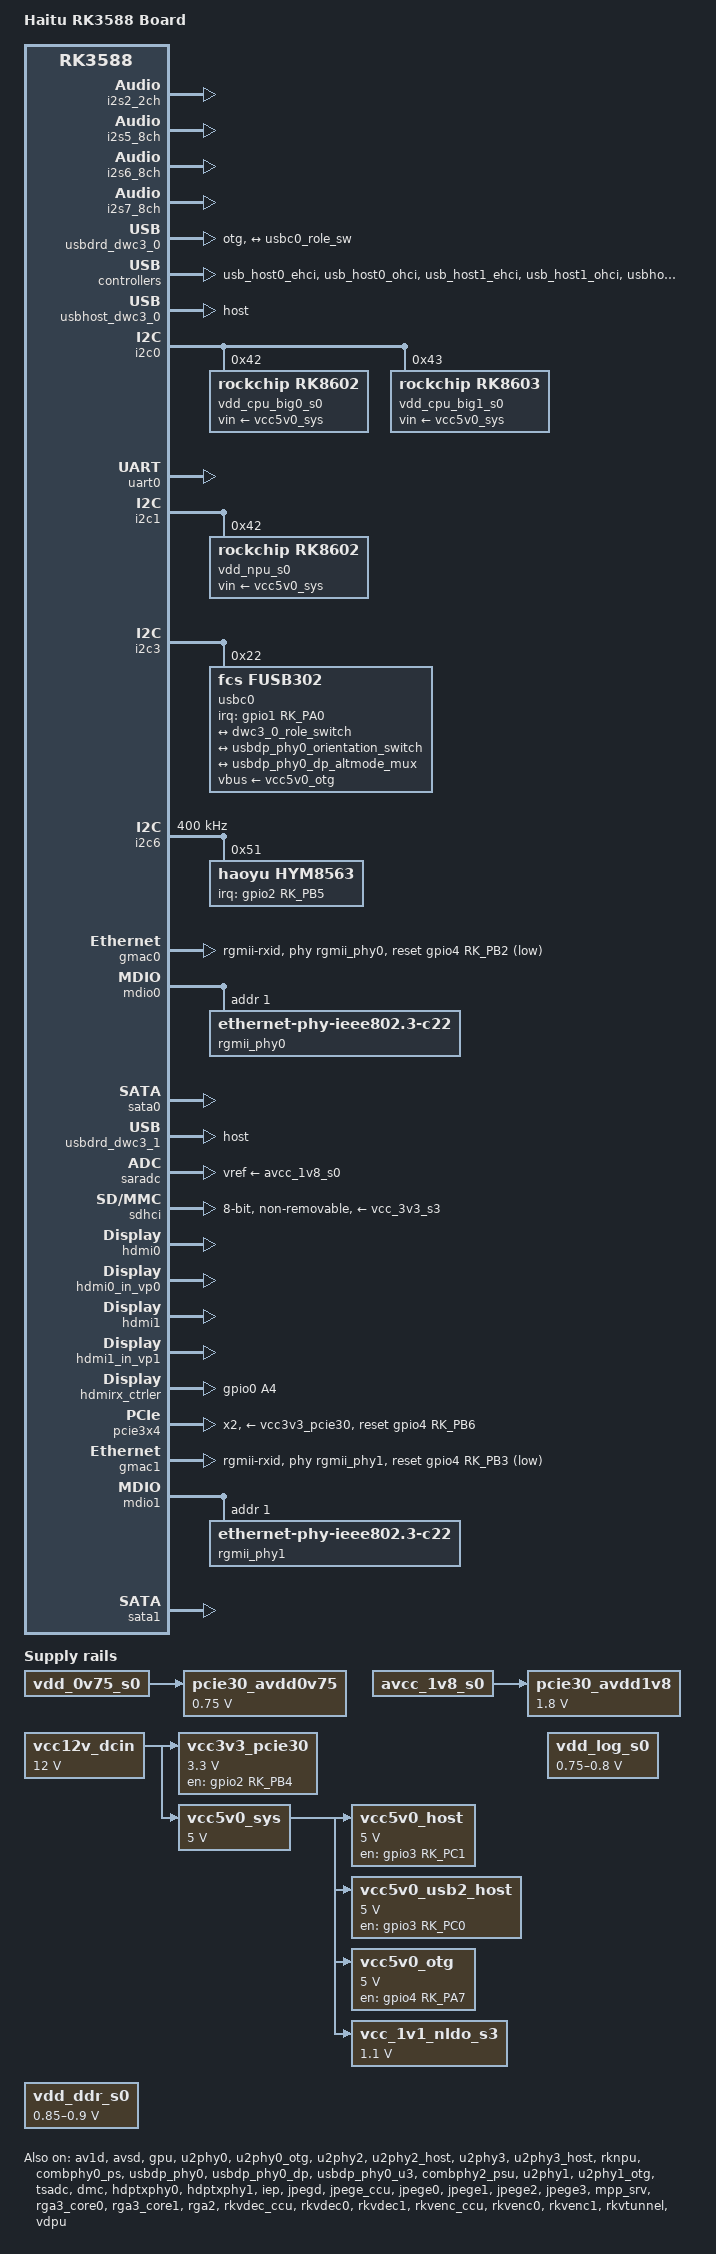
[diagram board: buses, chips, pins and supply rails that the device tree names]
// SPDX-License-Identifier: (GPL-2.0+ OR MIT)
/*
 * Copyright (c) 2026 Rockchip Electronics Co., Ltd.
 * bingo1991
 */

/dts-v1/;

#include <dt-bindings/gpio/gpio.h>
#include <dt-bindings/pwm/pwm.h>
#include <dt-bindings/pinctrl/rockchip.h>
#include <dt-bindings/input/rk-input.h>
#include <dt-bindings/display/drm_mipi_dsi.h>
#include <dt-bindings/display/rockchip_vop.h>
#include <dt-bindings/sensor-dev.h>
#include <dt-bindings/usb/pd.h>
#include "rk3588.dtsi"
#include "rk3588-rk806-single.dtsi"
#include "rk3588-linux.dtsi"

/ {
	model = "Haitu RK3588 Board";
	compatible = "haitu,ht-rk3588", "rockchip,rk3588";

	aliases {
		ethernet0 = &gmac0;
		ethernet1 = &gmac1;
		mmc0 = &sdhci;
	};

	reserved-memory {
		#address-cells = <2>;
		#size-cells = <2>;
		ranges;

		/* Reserve 256MB memory for hdmirx-controller@fdee0000 */
		cma {
			compatible = "shared-dma-pool";
			reusable;
			reg = <0x0 (256 * 0x100000) 0x0 (256 * 0x100000)>;
			linux,cma-default;
		};
	};

	dp0_sound: dp0-sound {
		compatible = "rockchip,hdmi";
		rockchip,card-name = "rockchip-dp0";
		rockchip,mclk-fs = <512>;
		rockchip,cpu = <&spdif_tx2>;
		rockchip,codec = <&dp0 1>;
		rockchip,jack-det;
	};

	hdmi0_sound: hdmi0-sound {
		compatible = "simple-audio-card";
		simple-audio-card,format = "i2s";
		simple-audio-card,mclk-fs = <128>;
		simple-audio-card,name = "rockchip,hdmi0";

		simple-audio-card,cpu {
			sound-dai = <&i2s5_8ch>;
		};
		simple-audio-card,codec {
			sound-dai = <&hdmi0>;
		};
	};

	hdmi1_sound: hdmi1-sound {
		compatible = "simple-audio-card";
		simple-audio-card,format = "i2s";
		simple-audio-card,mclk-fs = <128>;
		simple-audio-card,name = "rockchip,hdmi1";

		simple-audio-card,cpu {
			sound-dai = <&i2s6_8ch>;
		};
		simple-audio-card,codec {
			sound-dai = <&hdmi1>;
		};
	};

	hdmiin_sound: hdmiin-sound {
		compatible = "rockchip,hdmi";
		rockchip,mclk-fs = <128>;
		rockchip,format = "i2s";
		rockchip,bitclock-master = <&hdmirx_ctrler>;
		rockchip,frame-master = <&hdmirx_ctrler>;
		rockchip,card-name = "rockchip-hdmiin";
		rockchip,cpu = <&i2s7_8ch>;
		rockchip,codec = <&hdmirx_ctrler 0>;
		rockchip,jack-det;
	};

	test-power {
		status = "okay";
	};

	pcie30_avdd0v75: pcie30-avdd0v75 {
		compatible = "regulator-fixed";
		regulator-name = "pcie30_avdd0v75";
		regulator-boot-on;
		regulator-always-on;
		regulator-min-microvolt = <750000>;
		regulator-max-microvolt = <750000>;
		vin-supply = <&vdd_0v75_s0>;
	};

	pcie30_avdd1v8: pcie30-avdd1v8 {
		compatible = "regulator-fixed";
		regulator-name = "pcie30_avdd1v8";
		regulator-boot-on;
		regulator-always-on;
		regulator-min-microvolt = <1800000>;
		regulator-max-microvolt = <1800000>;
		vin-supply = <&avcc_1v8_s0>;
	};

	vcc12v_dcin: vcc12v-dcin {
		compatible = "regulator-fixed";
		regulator-name = "vcc12v_dcin";
		regulator-always-on;
		regulator-boot-on;
		regulator-min-microvolt = <12000000>;
		regulator-max-microvolt = <12000000>;
	};

	vcc3v3_pcie30: vcc3v3-pcie30 {
		compatible = "regulator-fixed";
		regulator-name = "vcc3v3_pcie30";
		regulator-min-microvolt = <3300000>;
		regulator-max-microvolt = <3300000>;
		enable-active-high;
		gpios = <&gpio2 RK_PB4 GPIO_ACTIVE_HIGH>;
		startup-delay-us = <7500>;
		vin-supply = <&vcc12v_dcin>;
	};

	vcc5v0_sys: vcc5v0-sys {
		compatible = "regulator-fixed";
		regulator-name = "vcc5v0_sys";
		regulator-always-on;
		regulator-boot-on;
		regulator-min-microvolt = <5000000>;
		regulator-max-microvolt = <5000000>;
		vin-supply = <&vcc12v_dcin>;
	};

	vcc5v0_host: vcc5v0-host-regulator {
		compatible = "regulator-fixed";
		regulator-name = "vcc5v0_host";
		regulator-boot-on;
		regulator-always-on;
		regulator-min-microvolt = <5000000>;
		regulator-max-microvolt = <5000000>;
		enable-active-high;
		gpio = <&gpio3 RK_PC1 GPIO_ACTIVE_HIGH>;
		vin-supply = <&vcc5v0_sys>;
		pinctrl-names = "default";
		pinctrl-0 = <&vcc5v0_host_en>;
	};

	vcc5v0_usb2_host: vcc5v0-usb2-host-regulator {
		compatible = "regulator-fixed";
		regulator-name = "vcc5v0_usb2_host";
		regulator-boot-on;
		regulator-always-on;
		regulator-min-microvolt = <5000000>;
		regulator-max-microvolt = <5000000>;
		enable-active-high;
		gpio = <&gpio3 RK_PC0 GPIO_ACTIVE_HIGH>;
		vin-supply = <&vcc5v0_sys>;
		pinctrl-names = "default";
		pinctrl-0 = <&vcc5v0_usb2_host_en>;
	};

	vcc5v0_otg: vcc5v0-otg-regulator {
		compatible = "regulator-fixed";
		regulator-name = "vcc5v0_otg";
		regulator-min-microvolt = <5000000>;
		regulator-max-microvolt = <5000000>;
		enable-active-high;
		gpio = <&gpio4 RK_PA7 GPIO_ACTIVE_HIGH>;
		vin-supply = <&vcc5v0_sys>;
		pinctrl-names = "default";
		pinctrl-0 = <&vcc5v0_otg_en>;
	};

	vcc_1v1_nldo_s3: vcc-1v1-nldo-s3 {
		compatible = "regulator-fixed";
		regulator-name = "vcc_1v1_nldo_s3";
		regulator-always-on;
		regulator-boot-on;
		regulator-min-microvolt = <1100000>;
		regulator-max-microvolt = <1100000>;
		vin-supply = <&vcc5v0_sys>;
	};
};

&av1d {
	status = "okay";
};

&av1d_mmu {
	status = "okay";
};

&avsd {
	status = "okay";
};

&i2s2_2ch {
	status = "okay";
};

&i2s5_8ch {
	status = "okay";
};

&i2s6_8ch {
	status = "okay";
};

&i2s7_8ch {
	status = "okay";
};

&cpu_l0 {
	cpu-supply = <&vdd_cpu_lit_s0>;
	mem-supply = <&vdd_cpu_lit_mem_s0>;
};

&cpu_b0 {
	cpu-supply = <&vdd_cpu_big0_s0>;
	mem-supply = <&vdd_cpu_big0_mem_s0>;
};

&cpu_b2 {
	cpu-supply = <&vdd_cpu_big1_s0>;
	mem-supply = <&vdd_cpu_big1_mem_s0>;
};

&gpu {
	mali-supply = <&vdd_gpu_s0>;
	mem-supply = <&vdd_gpu_mem_s0>;
	status = "okay";
};

&rockchip_suspend {
	status = "okay";
	rockchip,sleep-debug-en = <1>;
};

&usbdrd_dwc3_0 {
	dr_mode = "otg";
	usb-role-switch;
	status = "okay";
	port {
		#address-cells = <1>;
		#size-cells = <0>;
		dwc3_0_role_switch: endpoint@0 {
			reg = <0>;
			remote-endpoint = <&usbc0_role_sw>;
		};
	};
};

/* USB2.0 HOST0 Controller */
&usb_host0_ehci {
	status = "okay";
};

&usb_host0_ohci {
	status = "okay";
};

/* USB2.0 HOST1 Controller */
&usb_host1_ehci {
	status = "okay";
};

&usb_host1_ohci {
	status = "okay";
};

/* USB3.1 HOST2 Controller  */
&usbhost3_0 {
	status = "okay";
};

&usbhost_dwc3_0 {
	dr_mode = "host";
	status = "okay";
};

/* USB2.0 PHY0 */
&u2phy0 {
	status = "okay";
};

&u2phy0_otg {
	vbus-supply = <&vcc5v0_otg>;
	rockchip,typec-vbus-det;
	status = "okay";
};

/* USB2.0 HOST0 PHY2 */
&u2phy2 {
	status = "okay";
};

&u2phy2_host {
	phy-supply = <&vcc5v0_host>;
	status = "okay";
};

/* USB2.0 HOST1 PHY3 */
&u2phy3 {
	status = "okay";
};

&u2phy3_host {
	phy-supply = <&vcc5v0_host>;
	status = "okay";
};

&i2c0 {
	pinctrl-names = "default";
	pinctrl-0 = <&i2c0m2_xfer>;
	status = "okay";

	vdd_cpu_big0_s0: vdd_cpu_big0_mem_s0: rk8602@42 {
		compatible = "rockchip,rk8602";
		reg = <0x42>;
		vin-supply = <&vcc5v0_sys>;
		regulator-compatible = "rk860x-reg";
		regulator-name = "vdd_cpu_big0_s0";
		regulator-min-microvolt = <550000>;
		regulator-max-microvolt = <1050000>;
		regulator-ramp-delay = <2300>;
		rockchip,suspend-voltage-selector = <1>;
		regulator-boot-on;
		regulator-always-on;
		regulator-state-mem {
			regulator-off-in-suspend;
		};
	};

	vdd_cpu_big1_s0: vdd_cpu_big1_mem_s0: rk8603@43 {
		compatible = "rockchip,rk8603";
		reg = <0x43>;
		vin-supply = <&vcc5v0_sys>;
		regulator-compatible = "rk860x-reg";
		regulator-name = "vdd_cpu_big1_s0";
		regulator-min-microvolt = <550000>;
		regulator-max-microvolt = <1050000>;
		regulator-ramp-delay = <2300>;
		rockchip,suspend-voltage-selector = <1>;
		regulator-boot-on;
		regulator-always-on;
		regulator-state-mem {
			regulator-off-in-suspend;
		};
	};
};

&uart0 {
	pinctrl-names = "default";
	pinctrl-0 = <&uart0m2_xfer>;
	status = "okay";
};

&i2c1 {
	pinctrl-names = "default";
	pinctrl-0 = <&i2c1m2_xfer>;
	status = "okay";

	vdd_npu_s0: vdd_npu_mem_s0: rk8602@42 {
		compatible = "rockchip,rk8602";
		reg = <0x42>;
		vin-supply = <&vcc5v0_sys>;
		regulator-compatible = "rk860x-reg";
		regulator-name = "vdd_npu_s0";
		regulator-min-microvolt = <550000>;
		regulator-max-microvolt = <950000>;
		regulator-ramp-delay = <2300>;
		rockchip,suspend-voltage-selector = <1>;
		regulator-boot-on;
		regulator-always-on;
		regulator-state-mem {
			regulator-off-in-suspend;
		};
	};
};

&rknpu {
	rknpu-supply = <&vdd_npu_s0>;
	mem-supply = <&vdd_npu_mem_s0>;
	status = "okay";
};

&rknpu_mmu {
	status = "okay";
};

&i2c3 {
	status = "okay";

	usbc0: fusb302@22 {
		compatible = "fcs,fusb302";
		reg = <0x22>;
		interrupt-parent = <&gpio1>;
		interrupts = <RK_PA0 IRQ_TYPE_LEVEL_LOW>;
		pinctrl-names = "default";
		pinctrl-0 = <&usbc0_int>;
		vbus-supply = <&vcc5v0_otg>;
		status = "okay";

		ports {
			#address-cells = <1>;
			#size-cells = <0>;

			port@0 {
				reg = <0>;
				usbc0_role_sw: endpoint@0 {
					remote-endpoint = <&dwc3_0_role_switch>;
				};
			};
		};

		usb_con: connector {
			compatible = "usb-c-connector";
			label = "USB-C";
			data-role = "dual";
			power-role = "dual";
			try-power-role = "sink";
			op-sink-microwatt = <1000000>;
			sink-pdos =
				<PDO_FIXED(5000, 1000, PDO_FIXED_USB_COMM)>;
			source-pdos =
				<PDO_FIXED(5000, 3000, PDO_FIXED_USB_COMM)>;

			altmodes {
				#address-cells = <1>;
				#size-cells = <0>;

				altmode@0 {
					reg = <0>;
					svid = <0xff01>;
					vdo = <0xffffffff>;
				};
			};

			ports {
				#address-cells = <1>;
				#size-cells = <0>;

				port@0 {
					reg = <0>;
					usbc0_orien_sw: endpoint {
						remote-endpoint = <&usbdp_phy0_orientation_switch>;
					};
				};

				port@1 {
					reg = <1>;
					dp_altmode_mux: endpoint {
						remote-endpoint = <&usbdp_phy0_dp_altmode_mux>;
					};
				};
			};
		};
	};
};

&i2c6 {
	status = "okay";
	clock-frequency = <400000>;
	pinctrl-names = "default";
	pinctrl-0 = <&i2c6m1_xfer>;

	hym8563@51 {
		compatible = "haoyu,hym8563";
		reg = <0x51>;

		pinctrl-names = "default";
		pinctrl-0 = <&rtc_int>;

		interrupt-parent = <&gpio2>;
		interrupts = <RK_PB5 IRQ_TYPE_LEVEL_LOW>;
		wakeup-source;
	};
};

&gmac0 {
	/* Use rgmii-rxid mode to disable rx delay inside Soc */
	phy-mode = "rgmii-rxid";
	clock_in_out = "output";

	snps,reset-gpio = <&gpio4 RK_PB2 GPIO_ACTIVE_LOW>;
	snps,reset-active-low;
	/* Reset time is 20ms, 100ms for rtl8211f */
	snps,reset-delays-us = <0 20000 100000>;

	pinctrl-names = "default";
	pinctrl-0 = <&gmac0_miim
		     &gmac0_tx_bus2
		     &gmac0_rx_bus2
		     &gmac0_rgmii_clk
		     &gmac0_rgmii_bus>;

	tx_delay = <0x44>;

	phy-handle = <&rgmii_phy0>;
	status = "okay";
};

&mdio0 {
	rgmii_phy0: phy@1 {
		compatible = "ethernet-phy-ieee802.3-c22";
		reg = <0x1>;
	};
};

&sata0 {
	status = "okay";
};

/* SATA30_HOST0/PCIe20x1_2 Combo PHY */
&combphy0_ps {
	pinctrl-names = "default";
	pinctrl-0 = <&sata0_pm_reset>;
	status = "okay";
};

/* USB3.1_OTG/DP1.4 Combo PHY0 */
&usbdp_phy0 {
	status = "okay";
	orientation-switch;
	svid = <0xff01>;
	sbu1-dc-gpios = <&gpio0 RK_PC6 GPIO_ACTIVE_HIGH>;
	sbu2-dc-gpios = <&gpio0 RK_PD3 GPIO_ACTIVE_HIGH>;

	port {
		#address-cells = <1>;
		#size-cells = <0>;
		usbdp_phy0_orientation_switch: endpoint@0 {
			reg = <0>;
			remote-endpoint = <&usbc0_orien_sw>;
		};

		usbdp_phy0_dp_altmode_mux: endpoint@1 {
			reg = <1>;
			remote-endpoint = <&dp_altmode_mux>;
		};
	};

};

&usbdp_phy0_dp {
	status = "okay";
};

&usbdp_phy0_u3 {
	status = "okay";
};

/* USB30_HOST2/SATA30_HOST2/PCIe20x1_1 Combo PHY */
&combphy2_psu {
	status = "okay";
};

/* USB3.1 OTG0 Controller  */
&usbdrd_dwc3_1 {
	dr_mode = "host";
	maximum-speed = "high-speed";
	status = "okay";
};

/* USB2.0 PHY1 */
&u2phy1 {
	status = "okay";
};

&u2phy1_otg {
	status = "okay";
	phy-supply = <&vcc5v0_usb2_host>;
};

&saradc {
	status = "okay";
	vref-supply = <&avcc_1v8_s0>;
};

&tsadc {
	status = "okay";
};

&sdhci {
	bus-width = <8>;
	no-sdio;
	no-sd;
	non-removable;
	max-frequency = <200000000>;
	mmc-hs400-1_8v;
	mmc-hs400-enhanced-strobe;
	vmmc-supply = <&vcc_3v3_s3>;
	vqmmc-supply = <&vcc_1v8_s3>;
	full-pwr-cycle-in-suspend;
	status = "okay";
};

&sdmmc {
	status = "disabled";
};

&vdd_log_s0 {
	regulator-min-microvolt = <750000>;
	regulator-max-microvolt = <800000>;
};

&vdd_ddr_s0 {
	regulator-min-microvolt = <850000>;
	regulator-max-microvolt = <900000>;
};

&dmc {
	status = "okay";
	center-supply = <&vdd_ddr_s0>;
	mem-supply = <&vdd_log_s0>;
	rockchip,dmc-min-freq = <1560000000>;
	rockchip,dmc-max-freq = <2112000000>;
};

&display_subsystem {
	clocks = <&hdptxphy0>, <&hdptxphy1>;
	clock-names = "hdmi0_phy_pll", "hdmi1_phy_pll";
};

&hdmi0 {
	status = "okay";
	enable-gpios = <&gpio4 RK_PB1 GPIO_ACTIVE_HIGH>;
	cec-enable = "true";
};

/* HDMI/eDP Combo PHY */
&hdptxphy0 {
	status = "disabled";
};

&hdptxphy0 {
	status = "okay";
};

&hdmi0_in_vp0 {
	status = "okay";
};

&hdmi0_sound {
	status = "okay";
};

&hdmi1 {
	pinctrl-names = "default";
	pinctrl-0 = <&hdmim2_tx1_cec &hdmim0_tx1_hpd
			&hdmim2_tx1_scl &hdmim2_tx1_sda>;
	cec-enable = "true";
	status = "okay";
};

/* HDMI/eDP Combo PHY */
&hdptxphy1 {
	status = "disabled";
};

&hdptxphy1 {
	status = "okay";
};

&hdmi1_in_vp1 {
	status = "okay";
};

&hdmi1_sound {
	status = "okay";
};

&hdmirx_ctrler  {
	status = "okay";
	#sound-dai-cells = <1>;
	/* Effective level used to trigger HPD: 0-low, 1-high */
	hpd-trigger-level = <1>;
	hdmirx-det-gpios = <&gpio0 RK_PA4 GPIO_ACTIVE_LOW>;
	pinctrl-names = "default";
	pinctrl-0 = <&hdmim2_rx_cec &hdmim2_rx_hpdin &hdmim2_rx_scl &hdmim2_rx_sda &hdmirx_det>;
};

&hdmiin_sound {
	status = "okay";
};

&iep {
	status = "okay";
};

&iep_mmu {
	status = "okay";
};

&jpegd {
	status = "okay";
};

&jpegd_mmu {
	status = "okay";
};

&jpege_ccu {
	status = "okay";
};

&jpege0 {
	status = "okay";
};

&jpege0_mmu {
	status = "okay";
};

&jpege1 {
	status = "okay";
};

&jpege1_mmu {
	status = "okay";
};

&jpege2 {
	status = "okay";
};

&jpege2_mmu {
	status = "okay";
};

&jpege3 {
	status = "okay";
};

&jpege3_mmu {
	status = "okay";
};

&mpp_srv {
	status = "okay";
};

&rga3_core0 {
	status = "okay";
};

&rga3_0_mmu {
	status = "okay";
};

&rga3_core1 {
	status = "okay";
};

&rga3_1_mmu {
	status = "okay";
};

&rga2 {
	status = "okay";
};

&rkvdec_ccu {
	status = "okay";
};

&rkvdec0 {
	status = "okay";
};

&rkvdec0_mmu {
	status = "okay";
};

&rkvdec1 {
	status = "okay";
};

&rkvdec1_mmu {
	status = "okay";
};

&rkvenc_ccu {
	status = "okay";
};

&rkvenc0 {
	venc-supply = <&vdd_vdenc_s0>;
	mem-supply = <&vdd_vdenc_mem_s0>;
	status = "okay";
};

&rkvenc0_mmu {
	status = "okay";
};

&rkvenc1 {
	venc-supply = <&vdd_vdenc_s0>;
	mem-supply = <&vdd_vdenc_mem_s0>;
	status = "okay";
};

&rkvenc1_mmu {
	status = "okay";
};

&rkvtunnel {
	status = "okay";
};

&vdpu {
	status = "okay";
};

&vdpu_mmu {
	status = "okay";
};

&vepu {
	status = "okay";
};

&vop {
	status = "okay";
	disable-win-move;
	vop-supply = <&vdd_log_s0>;
	assigned-clocks = <&cru ACLK_VOP>;
	assigned-clock-rates = <800000000>;
};

&vop_mmu {
	status = "okay";
};

// PCIe30 Port0 & Port1: M.2 M-Key
&pcie3x4 {
	num-lanes = <2>;
	reset-gpios = <&gpio4 RK_PB6 GPIO_ACTIVE_HIGH>;
	vpcie3v3-supply = <&vcc3v3_pcie30>;
	status = "okay";
};

/* PCIe30 PHY Port0 & Port1 */
&pcie30phy {
	status = "okay";
	rockchip,pcie30-phymode = <PHY_MODE_PCIE_NANBNB>;
};

&gmac1 {
	/* Use rgmii-rxid mode to disable rx delay inside Soc */
	phy-mode = "rgmii-rxid";
	clock_in_out = "output";

	snps,reset-gpio = <&gpio4 RK_PB3 GPIO_ACTIVE_LOW>;
	snps,reset-active-low;
	/* Reset time is 20ms, 100ms for rtl8211f */
	snps,reset-delays-us = <0 20000 100000>;

	pinctrl-names = "default";
	pinctrl-0 = <&gmac1_miim
		     &gmac1_tx_bus2
		     &gmac1_rx_bus2
		     &gmac1_rgmii_clk
		     &gmac1_rgmii_bus>;

	tx_delay = <0x42>;

	phy-handle = <&rgmii_phy1>;
	status = "okay";
};

&mdio1 {
	rgmii_phy1: phy@1 {
		compatible = "ethernet-phy-ieee802.3-c22";
		reg = <0x1>;
	};
};

&sata1 {
	status = "okay";
};

&combphy1_ps {
	pinctrl-names = "default";
	pinctrl-0 = <&sata1_pm_reset>;
	status = "okay";
};

/* vp0 & vp1 splice for 8K output */
&vp0 {
	rockchip,plane-mask = <(1 << ROCKCHIP_VOP2_CLUSTER0 | 1 << ROCKCHIP_VOP2_ESMART0)>;
	rockchip,primary-plane = <ROCKCHIP_VOP2_CLUSTER0>;
	cursor-win-id = <ROCKCHIP_VOP2_ESMART0>;
};

&vp1 {
	rockchip,plane-mask = <(1 << ROCKCHIP_VOP2_CLUSTER1 | 1 << ROCKCHIP_VOP2_ESMART1)>;
	rockchip,primary-plane = <ROCKCHIP_VOP2_CLUSTER1>;
	cursor-win-id = <ROCKCHIP_VOP2_ESMART1>;
};

&vp2 {
	rockchip,plane-mask = <(1 << ROCKCHIP_VOP2_CLUSTER2 | 1 << ROCKCHIP_VOP2_ESMART2)>;
	rockchip,primary-plane = <ROCKCHIP_VOP2_CLUSTER2>;
	cursor-win-id = <ROCKCHIP_VOP2_ESMART2>;
};

&vp3 {
	rockchip,plane-mask = <(1 << ROCKCHIP_VOP2_CLUSTER3 | 1 << ROCKCHIP_VOP2_ESMART3)>;
	rockchip,primary-plane = <ROCKCHIP_VOP2_CLUSTER3>;
	cursor-win-id = <ROCKCHIP_VOP2_ESMART3>;
};

&pinctrl {
	sata {
		sata0_pm_reset: sata0-pm-reset {
			rockchip,pins = <4 RK_PA0 RK_FUNC_GPIO &pcfg_output_high>;
		};
		sata1_pm_reset: sata1-pm-reset {
			rockchip,pins = <4 RK_PA1 RK_FUNC_GPIO &pcfg_output_high>;
		};
	};

	usb {
		vcc5v0_host_en: vcc5v0-host-en {
			rockchip,pins = <3 RK_PC1 RK_FUNC_GPIO &pcfg_pull_none>;
		};
		vcc5v0_usb2_host_en: vcc5v0-usb2-host-en {
			rockchip,pins = <3 RK_PC0 RK_FUNC_GPIO &pcfg_pull_none>;
		};
		vcc5v0_otg_en: vcc5v0-otg-en {
			rockchip,pins = <4 RK_PA7 RK_FUNC_GPIO &pcfg_pull_none>;
		};
	};

	rtc {
		rtc_int: rtc-int {
			rockchip,pins = <2 RK_PB5 RK_FUNC_GPIO &pcfg_pull_up>;
		};
	};

	hdmirx {
		hdmirx_det: hdmirx-det{
			rockchip,pins = <0 RK_PA4 RK_FUNC_GPIO &pcfg_pull_up>;
		};
	};

	usb-typec {
		usbc0_int: usbc0-int {
			rockchip,pins = <1 RK_PA0 RK_FUNC_GPIO &pcfg_pull_up>;
		};
	};
};
